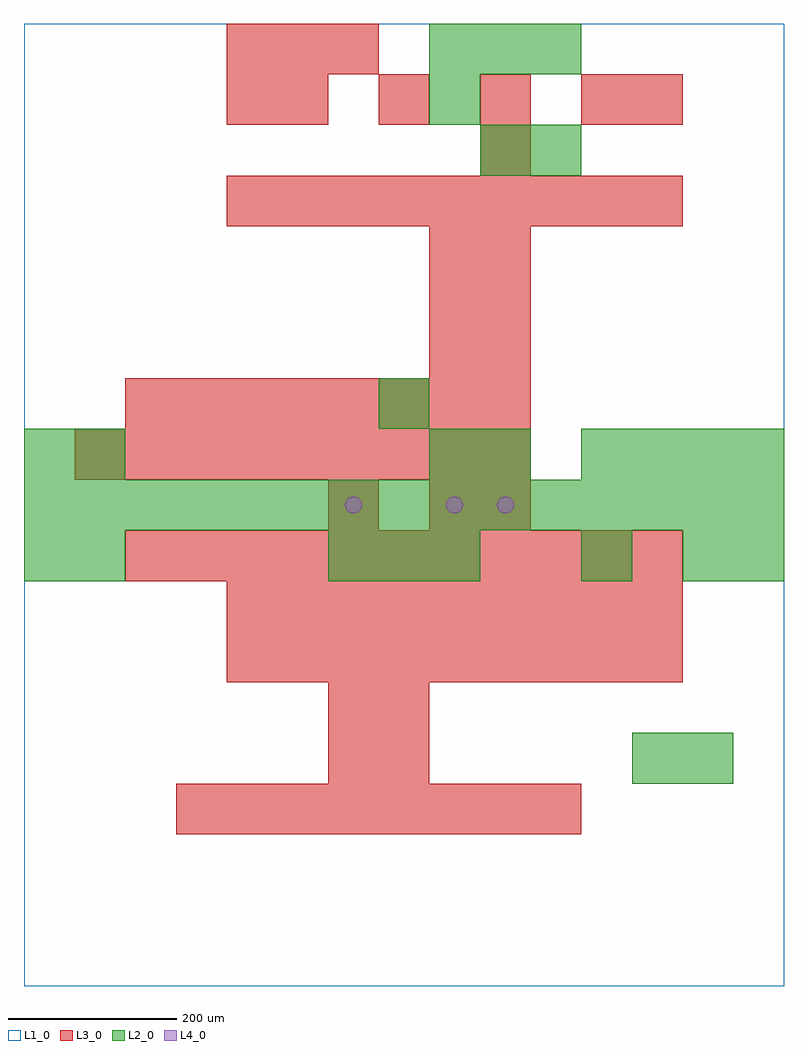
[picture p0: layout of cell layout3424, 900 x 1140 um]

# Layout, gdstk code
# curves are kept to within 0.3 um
import gdstk
lib = gdstk.Library(unit=1e-6, precision=1e-09)
def R(c, l, rs):  # rectangles x0, y0, x1, y1
    for r in rs: c.add(gdstk.rectangle(r[:2], r[2:], *l))
def A(c, l, x, y, w, h, nx, ny, dx, dy):  # array of equal rectangles
    R(c, l, [(x+i*dx, y+j*dy, x+i*dx+w, y+j*dy+h) for i in range(nx) for j in range(ny)])
def P(c, l, *ps):  # polygons
    for p in ps: c.add(gdstk.Polygon(p, *l))
L1_0 = (1, 0)
L2_0 = (2, 0)
L3_0 = (3, 0)
L4_0 = (4, 0)

layout3424 = lib.new_cell('layout3424')
R(layout3424, L1_0, [(0,0,900,1140)])
A(layout3424, L2_0, 360, 480, 60, 60, 3, 1, 60, 0)
A(layout3424, L2_0, 0, 540, 60, 60, 15, 1, 60, 0)
A(layout3424, L2_0, 660, 600, 60, 60, 4, 1, 60, 0)
A(layout3424, L2_0, 480, 1080, 60, 60, 3, 1, 60, 0)
R(layout3424, L2_0, [(720,240,780,300), (780,240,840,300), (0,480,60,540), (60,480,120,540), (660,480,720,540), (780,480,840,540), (840,480,900,540), (0,600,60,660), (60,600,120,660), (480,600,540,660), (540,600,600,660), (420,660,480,720), (540,960,600,1020), (600,960,660,1020), (480,1020,540,1080)])
A(layout3424, L3_0, 180, 180, 60, 60, 8, 1, 60, 0)
A(layout3424, L3_0, 240, 360, 60, 60, 9, 2, 60, 60)
A(layout3424, L3_0, 120, 480, 60, 60, 11, 1, 60, 0)
A(layout3424, L3_0, 60, 600, 60, 60, 9, 1, 60, 0)
A(layout3424, L3_0, 120, 660, 60, 60, 8, 1, 60, 0)
A(layout3424, L3_0, 480, 720, 60, 60, 1, 3, 0, 60)
A(layout3424, L3_0, 540, 720, 60, 60, 1, 3, 0, 60)
A(layout3424, L3_0, 240, 900, 60, 60, 9, 1, 60, 0)
A(layout3424, L3_0, 300, 1020, 60, 60, 4, 1, 120, 0)
A(layout3424, L3_0, 240, 1080, 60, 60, 3, 1, 60, 0)
R(layout3424, L3_0, [(360,240,420,300), (420,240,480,300), (360,300,420,360), (420,300,480,360), (360,540,420,600), (480,540,540,600), (540,540,600,600), (540,960,600,1020), (240,1020,300,1080), (720,1020,780,1080)])
P(layout3424, L4_0, [(400,570),(399.239,573.827),(397.071,577.071),(393.827,579.239),(390,580),(386.173,579.239),(382.929,577.071),(380.761,573.827),(380,570),(380.761,566.173),(382.929,562.929),(386.173,560.761),(390,560),(393.827,560.761),(397.071,562.929),(399.239,566.173)],
  [(520,570),(519.239,573.827),(517.071,577.071),(513.827,579.239),(510,580),(506.173,579.239),(502.929,577.071),(500.761,573.827),(500,570),(500.761,566.173),(502.929,562.929),(506.173,560.761),(510,560),(513.827,560.761),(517.071,562.929),(519.239,566.173)],
  [(580,570),(579.239,573.827),(577.071,577.071),(573.827,579.239),(570,580),(566.173,579.239),(562.929,577.071),(560.761,573.827),(560,570),(560.761,566.173),(562.929,562.929),(566.173,560.761),(570,560),(573.827,560.761),(577.071,562.929),(579.239,566.173)])

lib.write_gds('layout3424.gds')
